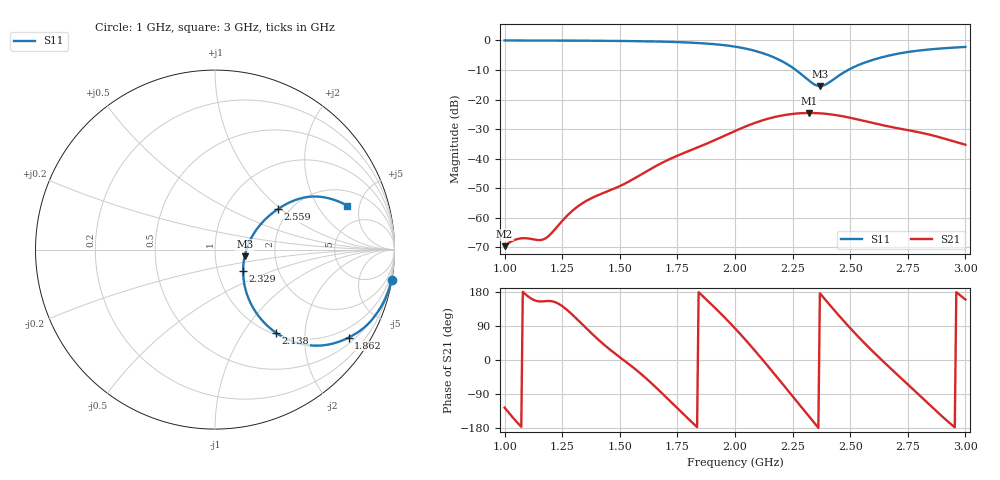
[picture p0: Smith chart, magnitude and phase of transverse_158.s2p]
! TOUCHSTONE file generated by CST MICROWAVE STUDIO
! Date and time: Tue Mar 11 13:57:15 2025
! Project name: transverse.cst
! Parameters = {Fracture=5; B=10; D=160; F=15; Feed=2.85625; L=100; M=10; R=0.384908; S=1; Theta=180; length=57.125; wave=114.25}
! Header version: 2024
! Port assignment regex: !\s*Touchstone port\s*([0-9]+)\s*=\s*(CST MWS port|CST DES external port|CST DES block port)\s*(.+)\s* \(\"(.*)\"\)(\s*mode\s*([0-9]+))?.*
! Touchstone port assignment:
! Touchstone port 1 = CST MWS port 1 ("")
! Touchstone port 2 = CST MWS port 2 ("")
# GHz S MA R 50
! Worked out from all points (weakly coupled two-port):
!   305 points, 1 GHz to 3 GHz, reference 50 ohm
!   highest |S21| = -24.53 dB at 2.322 GHz (marker M1); lowest = -69.6 dB at 1 GHz (marker M2)
!   lowest |S11| = -15.4 dB at 2.368 GHz (marker M3), VSWR 1.41, Z = 69.6 - j5.25 ohm
!   |S11| at or under -10 dB: 2.264 GHz to 2.491 GHz (226.7 MHz wide, 9.54 % of centre)
!   S12 and S22 are empty: the file has one direction only
!   S11 on the Smith chart (normalised r, x): 1 GHz: 0, -12; 1.862 GHz: 0.67, -3.21; 2.138 GHz: 1.03, -1.43; 2.329 GHz: 1.32, -0.33; 2.559 GHz: 1.75, +0.95; 3 GHz: 3.09, +3.78
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1  0.9979 -9.8  0.0003325 -125.7  0 0.0  0 0.0
1.06579  0.9968 -10.7  0.0004478 -172.2  0 0.0  0 0.0
1.15132  0.9955 -11.9  0.0004217 154.6  0 0.0  0 0.0
1.17763  0.9951 -12.3  0.0004512 155.4  0 0.0  0 0.0
1.27632  0.9921 -14.1  0.001137 129.4  0 0.0  0 0.0
1.33553  0.9894 -15.2  0.001743 95.1  0 0.0  0 0.0
1.51974  0.9769 -19.5  0.003749 -1.7  0 0.0  0 0.0
1.67105  0.9565 -24.3  0.008061 -80.6  0 0.0  0 0.0
1.86184  0.8913 -33.4  0.01696 167.6  0 0.0  0 0.0
2  0.7846 -43.0  0.02944 83.6  0 0.0  0 0.0
2.13816  0.5761 -53.7  0.04681 -12.7  0 0.0  0 0.0
2.23026  0.3886 -56.8  0.05592 -81.0  0 0.0  0 0.0
2.32237  0.2065 -40.6  0.05936 -149.9  0 0.0  0 0.0
2.32895  0.1973 -37.5  0.05935 -154.8  0 0.0  0 0.0
2.33553  0.1891 -34.0  0.0593 -159.6  0 0.0  0 0.0
2.36842  0.1692 -12.5  0.05857 176.2  0 0.0  0 0.0
2.40132  0.1867 8.4  0.05706 152.4  0 0.0  0 0.0
2.46053  0.2689 27.1  0.05278 110.8  0 0.0  0 0.0
2.55921  0.4165 32.8  0.04359 46.3  0 0.0  0 0.0
2.67105  0.5568 30.9  0.03485 -19.7  0 0.0  0 0.0
2.82237  0.6903 24.6  0.02673 -106.0  0 0.0  0 0.0
3  0.7753 18.3  0.01724 159.7  0 0.0  0 0.0
